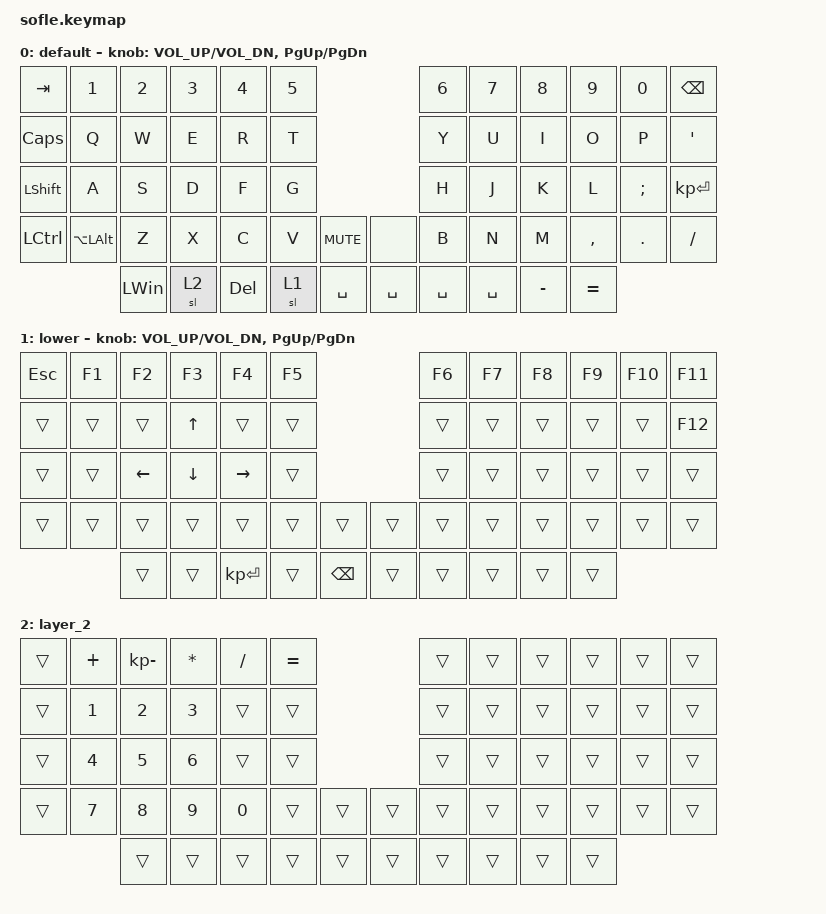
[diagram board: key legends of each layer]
/*
 * Copyright (c) 2020 The ZMK Contributors
 *
 * SPDX-License-Identifier: MIT
 */

#include <behaviors.dtsi>
#include <dt-bindings/zmk/keys.h>

#define BASE 0
#define LOWER 1
#define RAISE 2
#define ADJUST 3

/ {
    // Activate ADJUST layer by pressing raise and lower

    conditional_layers { compatible = "zmk,conditional-layers"; };

    keymap {
        compatible = "zmk,keymap";

        default_layer {
            label = "default";

            // ------------------------------------------------------------------------------------------------------------
            // |   `   |  1  |  2  |  3   |  4   |  5   |                   |  6   |  7    |  8    |  9   |   0   |       |
            // |  ESC  |  Q  |  W  |  E   |  R   |  T   |                   |  Y   |  U    |  I    |  O   |   P   | BKSPC |
            // |  TAB  |  A  |  S  |  D   |  F   |  G   |                   |  H   |  J    |  K    |  L   |   ;   |   '   |
            // | SHIFT |  Z  |  X  |  C   |  V   |  B   |  MUTE  |  |       |  N   |  M    |  ,    |  .   |   /   | SHIFT |
            //               | GUI | ALT  | CTRL | LOWER|  ENTER |  | SPACE | RAISE| CTRL  | ALT   | GUI  |

            bindings = <
&kp TAB           &kp N1            &kp N2    &kp N3  &kp N4      &kp N5                           &kp N6     &kp N7     &kp N8     &kp N9     &kp N0      &kp BACKSPACE
&kp CAPSLOCK      &kp Q             &kp W     &kp E   &kp R       &kp T                            &kp Y      &kp U      &kp I      &kp O      &kp P       &kp SQT
&kp LSHIFT        &kp A             &kp S     &kp D   &kp F       &kp G                            &kp H      &kp J      &kp K      &kp L      &kp SEMI    &kp KP_ENTER
&kp LEFT_CONTROL  &kp LA(LEFT_ALT)  &kp Z     &kp X   &kp C       &kp V   &kp C_MUTE    &none      &kp B      &kp N      &kp M      &kp COMMA  &kp PERIOD  &kp SLASH
                                    &kp LWIN  &sl 2   &kp DELETE  &sl 1   &kp SPACE     &kp SPACE  &kp SPACE  &kp SPACE  &kp MINUS  &kp EQUAL
            >;

            sensor-bindings = <&inc_dec_kp C_VOL_UP C_VOL_DN &inc_dec_kp PG_UP PG_DN>;
        };

        lower_layer {
            label = "lower";

            // TODO: Some binds are waiting for shifted keycode support.
            // ------------------------------------------------------------------------------------------------------------
            // |       |  F1 |  F2 |  F3  |  F4  |  F5  |                   |  F6  |  F7   |  F8   |  F9  |  F10  |  F11  |
            // |   `   |  1  |  2  |  3   |  4   |  5   |                   |  6   |  7    |  8    |  9   |   0   |  F12  |
            // |       |  !  |  @  |  #   |  $   |  %   |                   |  ^   |  &    |  *    |  (   |   )   |   |   |
            // |       |  =  |  -  |  +   |  {   |  }   |        |  |       |  [   |  ]    |  ;    |  :   |   \   |       |
            //               |     |      |      |      |        |  |       |      |       |       |      |

            bindings = <
&kp ESC  &kp F1  &kp F2    &kp F3        &kp F4        &kp F5                           &kp F6  &kp F7  &kp F8  &kp F9  &kp F10  &kp F11
&trans   &trans  &trans    &kp UP_ARROW  &trans        &trans                           &trans  &trans  &trans  &trans  &trans   &kp F12
&trans   &trans  &kp LEFT  &kp DOWN      &kp RIGHT     &trans                           &trans  &trans  &trans  &trans  &trans   &trans
&trans   &trans  &trans    &trans        &trans        &trans  &trans           &trans  &trans  &trans  &trans  &trans  &trans   &trans
                 &trans    &trans        &kp KP_ENTER  &trans  &kp BACKSPACE    &trans  &trans  &trans  &trans  &trans
            >;

            sensor-bindings = <&inc_dec_kp C_VOL_UP C_VOL_DN &inc_dec_kp PG_UP PG_DN>;
        };

        layer_2 {
            bindings = <
&trans  &kp PLUS      &kp KP_MINUS  &kp STAR      &kp SLASH  &kp EQUAL                    &trans  &trans  &trans  &trans  &trans  &trans
&trans  &kp NUMBER_1  &kp NUMBER_2  &kp NUMBER_3  &trans     &trans                       &trans  &trans  &trans  &trans  &trans  &trans
&trans  &kp NUMBER_4  &kp N5        &kp NUMBER_6  &trans     &trans                       &trans  &trans  &trans  &trans  &trans  &trans
&trans  &kp N7        &kp N8        &kp N9        &kp N0     &trans     &trans    &trans  &trans  &trans  &trans  &trans  &trans  &trans
                      &trans        &trans        &trans     &trans     &trans    &trans  &trans  &trans  &trans  &trans
            >;
        };
    };
};
